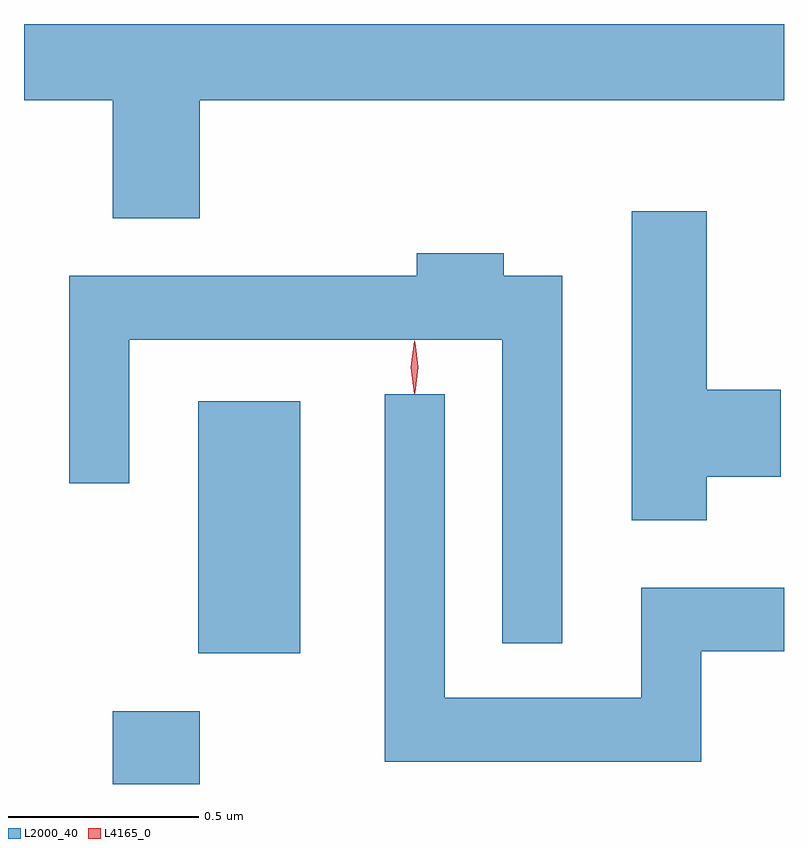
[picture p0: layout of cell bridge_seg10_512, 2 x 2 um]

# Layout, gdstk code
import gdstk
lib = gdstk.Library(unit=1e-6, precision=1e-09)
def R(c, l, rs):  # rectangles x0, y0, x1, y1
    for r in rs: c.add(gdstk.rectangle(r[:2], r[2:], *l))
def P(c, l, *ps):  # polygons
    for p in ps: c.add(gdstk.Polygon(p, *l))
L2000_40 = (2000, 40)
L4165_0 = (4165, 0)

bridge_seg10_512 = lib.new_cell('bridge_seg10_512')
R(bridge_seg10_512, L2000_40, [(903.241,2163.177,903.469,2163.369), (903.466,2163.521,903.734,2164.184)])
P(bridge_seg10_512, L2000_40, [(903.469,2164.976),(905.007,2164.976),(905.007,2165.177),(903.007,2165.177),(903.007,2164.976),(903.241,2164.976),(903.241,2164.666),(903.469,2164.666)],
  [(904.804,2163.986),(904.999,2163.986),(904.999,2164.214),(904.804,2164.214),(904.804,2164.684),(904.606,2164.684),(904.606,2163.871),(904.804,2163.871)],
  [(904.424,2164.514),(904.269,2164.514),(904.269,2164.574),(904.041,2164.574),(904.041,2164.514),(903.126,2164.514),(903.126,2163.968),(903.284,2163.968),(903.284,2164.346),(904.266,2164.346),(904.266,2163.548),(904.424,2163.548)],
  [(904.789,2163.526),(905.007,2163.526),(905.007,2163.694),(904.631,2163.694),(904.631,2163.404),(904.114,2163.404),(904.114,2164.203),(903.956,2164.203),(903.956,2163.236),(904.789,2163.236)])
P(bridge_seg10_512, L4165_0, [(904.034,2164.204),(904.025,2164.274),(904.034,2164.342),(904.035,2164.343),(904.035,2164.342),(904.045,2164.274),(904.035,2164.204),(904.035,2164.204)],
  [(904.034,2164.207),(904.025,2164.274),(904.034,2164.34),(904.035,2164.34),(904.036,2164.34),(904.045,2164.274),(904.036,2164.207),(904.035,2164.207)])

lib.write_gds('bridge_seg10_512.gds')
